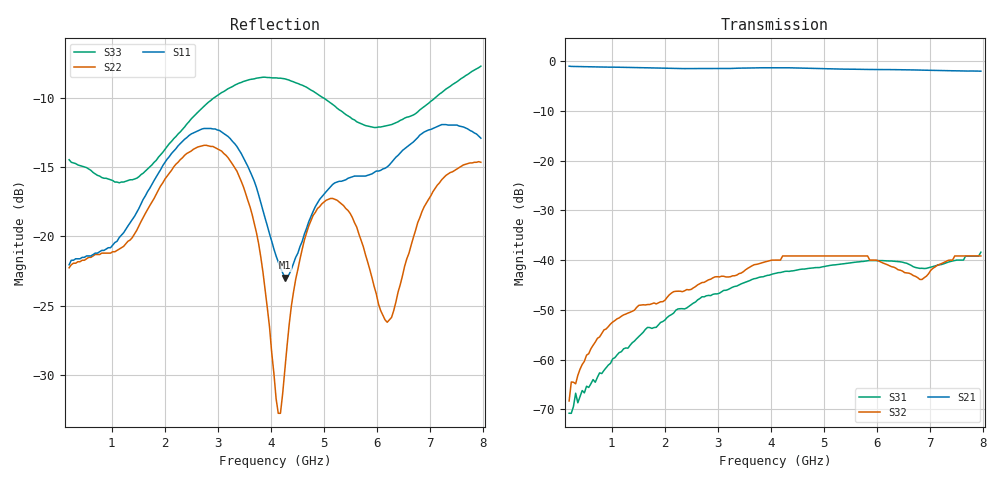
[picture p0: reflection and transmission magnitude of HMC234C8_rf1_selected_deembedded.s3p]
!Hittite Microwave Corporation
!12 Elizabeth Drive
!Chelmsford, MA 01824
!Tel: 978-250-3343
!Fax: 978-250-3373
!Device: HMC234C8, DC-8 GHz GaAs MMIC HIGH ISOLATION SPDT SWITCH in 8-lead ceramic package,
!Misc: Port1 = RFC, Port2 = RF1, Port3 = RF2, RF1 ON, Vctl=-5V, Room
# MHZ S MA R 50
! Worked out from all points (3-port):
!   190 points, 200 MHz to 7.96 GHz, reference 50 ohm
!   strongest paths, dB at 200 MHz, 2.13 GHz, 4.101 GHz, 6.03 GHz, 7.96 GHz:
!     S21: -1.0, -1.4, -1.3, -1.7, -2.0
!     S32: -68.3, -46.6, -40.0, -40.2, -39.2
!     S31: -70.8, -51.0, -42.6, -40.1, -38.4
!   lowest |S11| = -23.0 dB at 4.265 GHz (marker M1), VSWR 1.15, Z = 43.8 - j2.54 ohm
!   |S11| at or under -10 dB: start of sweep to end of sweep
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200  0.079 -9.5  0.891 -8.5  0.0001894 -30.1
     0.89 -8.5  0.077 -9.8  0.0004404 68.6
     0.0002889 -72.3  0.0003834 53.3  0.189 170.4
323.175  0.083 -14.6  0.883 -13.0  0.0004238 -79.4
         0.883 -13.0  0.08 -15.9  0.0007096 73.2
         0.0004586 -76.5  0.0005703 71.6  0.183 165.9
1021.164  0.093 -26.7  0.872 -39.3  0.001053 -168.2
          0.871 -39.3  0.088 -27.6  0.00238 72.5
          0.001017 -168.3  0.002381 72.9  0.159 129.7
3074.074  0.238 -46.9  0.842 -113.5  0.004817 85.8
          0.842 -113.5  0.203 -23.6  0.006875 38.2
          0.004797 86.3  0.006888 38.7  0.33 33.8
3731.005  0.15 -80.4  0.857 -137.8  0.006571 58.3
          0.856 -137.8  0.103 -35.0  0.009106 29.0
          0.006558 58.5  0.009054 28.9  0.372 24.1
4100.529  0.085 -123.3  0.861 -152.3  0.007392 41.5
          0.86 -152.3  0.026 -1.1  0.01 16.7
          0.007375 41.7  0.01 16.7  0.373 18.7
4264.762  0.071 -156.1  0.859 -159.0  0.007719 33.9
          0.859 -158.9  0.033 74.2  0.011 10.8
          0.00769 34.4  0.011 10.8  0.37 16.1
5044.868  0.145 119.1  0.84 170.2  0.008693 4.9
          0.84 170.2  0.135 79.6  0.011 -17.1
          0.008712 5.1  0.011 -17.1  0.311 -3.1
6358.73  0.193 125.1  0.821 118.3  0.009745 -45.4
         0.821 118.3  0.058 -60.5  0.008305 -55.0
         0.009717 -45.1  0.008283 -55.4  0.257 -77.2
7960  0.226 97.9  0.794 53.2  0.012 -75.7
      0.793 53.3  0.185 -152.2  0.011 -64.8
      0.012 -75.6  0.011 -64.9  0.411 -142.4
